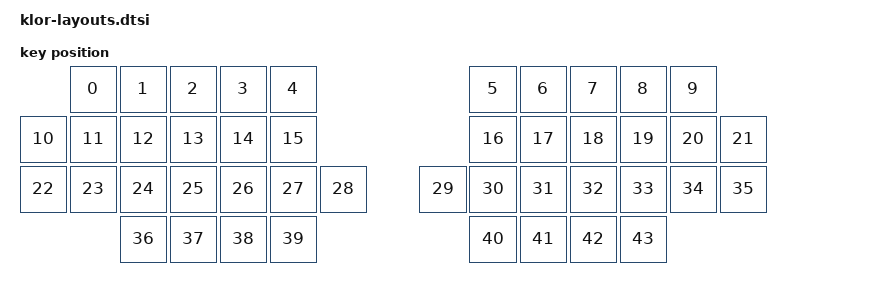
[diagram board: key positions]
/*
 * SPDX-License-Identifier: MIT
 * Key positions follow QMK's schematic KLOR LAYOUT (not to physical scale):
 * https://github.com/qmk/qmk_firmware/blob/master/keyboards/geigeigeist/klor/keyboard.json
 * Order matches default_transform, including both encoder push buttons.
 */

#include <physical_layouts.dtsi>

/ {
    klor_layout: klor_layout {
        compatible = "zmk,physical-layout";
        display-name = "KLOR Polydactyl";
        transform = <&default_transform>;
        kscan = <&kscan0>;
        keys //                     w   h    x    y   rot rx ry
            = <&key_physical_attrs 100 100  100    0 0 0 0> // L01
            , <&key_physical_attrs 100 100  200    0 0 0 0> // L02
            , <&key_physical_attrs 100 100  300    0 0 0 0> // L03
            , <&key_physical_attrs 100 100  400    0 0 0 0> // L04
            , <&key_physical_attrs 100 100  500    0 0 0 0> // L05
            , <&key_physical_attrs 100 100  900    0 0 0 0> // R00
            , <&key_physical_attrs 100 100 1000    0 0 0 0> // R01
            , <&key_physical_attrs 100 100 1100    0 0 0 0> // R02
            , <&key_physical_attrs 100 100 1200    0 0 0 0> // R03
            , <&key_physical_attrs 100 100 1300    0 0 0 0> // R04
            , <&key_physical_attrs 100 100    0  100 0 0 0> // L10
            , <&key_physical_attrs 100 100  100  100 0 0 0> // L11
            , <&key_physical_attrs 100 100  200  100 0 0 0> // L12
            , <&key_physical_attrs 100 100  300  100 0 0 0> // L13
            , <&key_physical_attrs 100 100  400  100 0 0 0> // L14
            , <&key_physical_attrs 100 100  500  100 0 0 0> // L15
            , <&key_physical_attrs 100 100  900  100 0 0 0> // R10
            , <&key_physical_attrs 100 100 1000  100 0 0 0> // R11
            , <&key_physical_attrs 100 100 1100  100 0 0 0> // R12
            , <&key_physical_attrs 100 100 1200  100 0 0 0> // R13
            , <&key_physical_attrs 100 100 1300  100 0 0 0> // R14
            , <&key_physical_attrs 100 100 1400  100 0 0 0> // R15
            , <&key_physical_attrs 100 100    0  200 0 0 0> // L20
            , <&key_physical_attrs 100 100  100  200 0 0 0> // L21
            , <&key_physical_attrs 100 100  200  200 0 0 0> // L22
            , <&key_physical_attrs 100 100  300  200 0 0 0> // L23
            , <&key_physical_attrs 100 100  400  200 0 0 0> // L24
            , <&key_physical_attrs 100 100  500  200 0 0 0> // L25
            , <&key_physical_attrs 100 100  600  200 0 0 0> // L35
            , <&key_physical_attrs 100 100  800  200 0 0 0> // R30
            , <&key_physical_attrs 100 100  900  200 0 0 0> // R20
            , <&key_physical_attrs 100 100 1000  200 0 0 0> // R21
            , <&key_physical_attrs 100 100 1100  200 0 0 0> // R22
            , <&key_physical_attrs 100 100 1200  200 0 0 0> // R23
            , <&key_physical_attrs 100 100 1300  200 0 0 0> // R24
            , <&key_physical_attrs 100 100 1400  200 0 0 0> // R25
            , <&key_physical_attrs 100 100  200  300 0 0 0> // L31
            , <&key_physical_attrs 100 100  300  300 0 0 0> // L32
            , <&key_physical_attrs 100 100  400  300 0 0 0> // L33
            , <&key_physical_attrs 100 100  500  300 0 0 0> // L34
            , <&key_physical_attrs 100 100  900  300 0 0 0> // R31
            , <&key_physical_attrs 100 100 1000  300 0 0 0> // R32
            , <&key_physical_attrs 100 100 1100  300 0 0 0> // R33
            , <&key_physical_attrs 100 100 1200  300 0 0 0> // R34
            ;
    };
};
